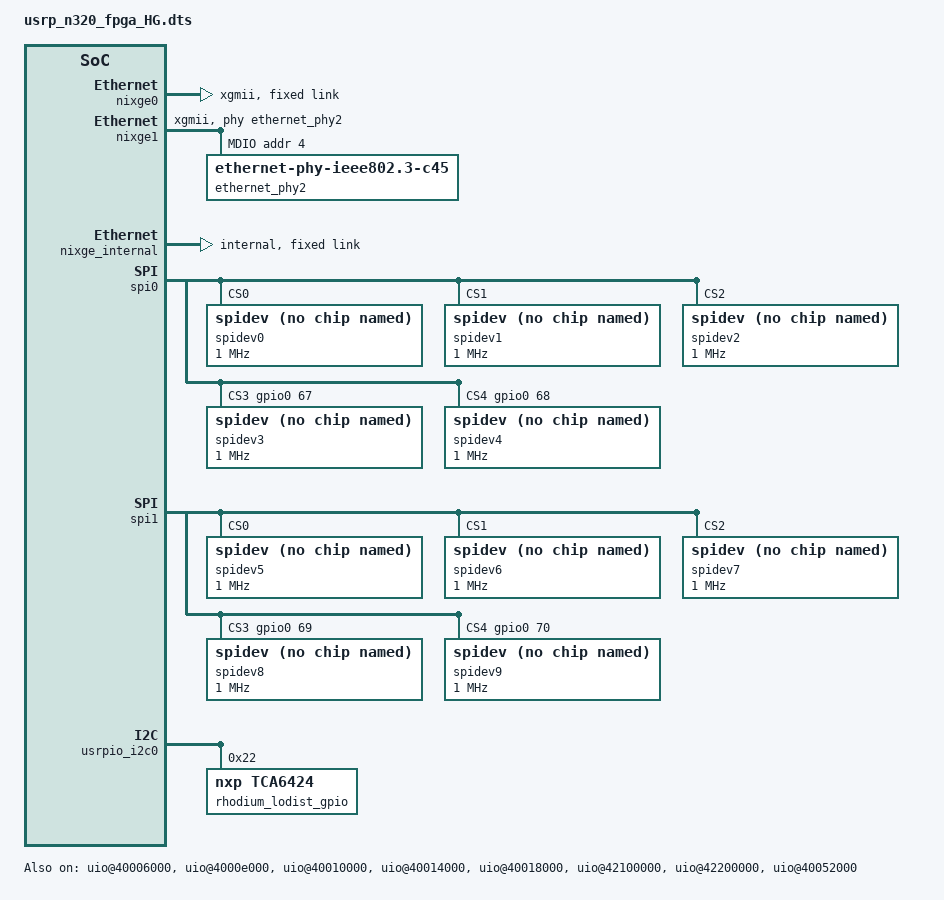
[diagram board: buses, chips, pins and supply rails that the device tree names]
# 1 "dts/usrp_n320_fpga_HG.dts"
# 1 "<built-in>"
# 1 "<command-line>"
# 1 "dts/usrp_n320_fpga_HG.dts"





/dts-v1/;
/plugin/;

# 1 "dts/n320-fpga.dtsi" 1





&fpga_full {
 firmware-name = "n320.bin";
};
# 10 "dts/usrp_n320_fpga_HG.dts" 2

&fpga_full {
 nixge0: ethernet@40000000 {
  compatible = "ni,xge-enet-2.00";
  reg = <0x40000000 0x6000>;

  clocks = <&clkc 15>;
  clock-names = "bus_clk";

  nvmem-cells = <&eth1_addr>;
  nvmem-cell-names = "address";

  interrupts = <0 29 4>, <0 30 4>;
  interrupt-names = "rx", "tx";
  interrupt-parent = <&intc>;
  status = "okay";

  phy-mode = "xgmii";

  fixed-link {
   speed = <1000>;
   full-duplex;

   link-gpios = <&gpio0 114 0>;
  };
 };

 uio@40006000 {
  compatible = "usrp-uio";
  reg = <0x40006000 0x2000>;
  reg-names = "misc-enet-regs0";
  status = "okay";
 };

 nixge1: ethernet@40008000 {
  compatible = "ni,xge-enet-2.00";
  reg = <0x40008000 0x6000>;

  clocks = <&clkc 15>;
  clock-names = "bus_clk";

  nvmem-cells = <&eth2_addr>;
  nvmem-cell-names = "address";

  interrupts = <0 31 4>, <0 32 4>;
  interrupt-names = "rx", "tx";
  interrupt-parent = <&intc>;
  status = "okay";

  phy-mode = "xgmii";
  phy-handle = <&ethernet_phy2>;

  mdio {
   ethernet_phy2: ethernet-phy@4 {
    compatible = "ethernet-phy-ieee802.3-c45";
    reg = <4>;
   };
  };
 };

 uio@4000e000 {
  compatible = "usrp-uio";
  reg = <0x4000e000 0x2000>;
  reg-names = "misc-enet-regs1";
  status = "okay";
 };
};

# 1 "dts/n320-common.dtsi" 1





&fpga_full {
 uio@40010000 {
  compatible = "usrp-uio";
  reg = <0x40010000 0x2000>;
  reg-names = "mboard-regs";
  status = "okay";
 };

 uio@40014000 {
  compatible = "usrp-uio";
  reg = <0x40014000 0x4000>;
  reg-names = "dboard-regs-0";
  status = "okay";
 };

 uio@40018000 {
  compatible = "usrp-uio";
  reg = <0x40018000 0x4000>;
  reg-names = "dboard-regs-1";
  status = "okay";
 };

 uio@42100000 {
  compatible = "usrp-uio";
  reg = <0x42100000 0x1000>;
  reg-names = "dboard-jtag-0";
  status = "okay";
 };

 uio@42200000 {
  compatible = "usrp-uio";
  reg = <0x42200000 0x1000>;
  reg-names = "dboard-jtag-1";
  status = "okay";
 };
};

&spi0 {
 status = "okay";

 cs-gpios = <0>, <0>, <0>, <&gpio0 67 0>, <&gpio0 68 0>;

 spidev0: spidev@0 {
  compatible = "rohm,dh2228fv";
  reg = <0>;
  status = "okay";
  spi-max-frequency = <1000000>;
 };

 spidev1: spidev@1 {
  compatible = "rohm,dh2228fv";
  reg = <1>;
  status = "okay";
  spi-max-frequency = <1000000>;
 };

 spidev2: spidev@2 {
  compatible = "rohm,dh2228fv";
  reg = <2>;
  status = "okay";
  spi-max-frequency = <1000000>;
 };

 spidev3: spidev@3 {
  compatible = "rohm,dh2228fv";
  reg = <3>;
  status = "okay";
  spi-max-frequency = <1000000>;
 };

 spidev4: spidev@4 {
  compatible = "rohm,dh2228fv";
  reg = <4>;
  status = "okay";
  spi-max-frequency = <1000000>;
 };
};

&spi1 {
 status = "okay";

 cs-gpios = <0>, <0>, <0>, <&gpio0 69 0>, <&gpio0 70 0>;

 spidev5: spidev@0 {
  compatible = "rohm,dh2228fv";
  reg = <0>;
  status = "okay";
  spi-max-frequency = <1000000>;
 };

 spidev6: spidev@1 {
  compatible = "rohm,dh2228fv";
  reg = <1>;
  status = "okay";
  spi-max-frequency = <1000000>;
 };

 spidev7: spidev@2 {
  compatible = "rohm,dh2228fv";
  reg = <2>;
  status = "okay";
  spi-max-frequency = <1000000>;
 };

 spidev8: spidev@3 {
  compatible = "rohm,dh2228fv";
  reg = <3>;
  status = "okay";
  spi-max-frequency = <1000000>;
 };

 spidev9: spidev@4 {
  compatible = "rohm,dh2228fv";
  reg = <4>;
  status = "okay";
  spi-max-frequency = <1000000>;
 };
};

&usrpio_i2c0 {
 rhodium_lodist_gpio: rhodium-lodist-gpio@22 {
  compatible = "nxp,tca6424";
  reg = <0x22>;
  gpio-controller;
  #gpio-cells = <2>;
 };
};
# 79 "dts/usrp_n320_fpga_HG.dts" 2
# 1 "dts/dma-common.dtsi" 1





&fpga_full {
 nixge_internal: ethernet@40040000 {
  #address-cells = <1>;
  #size-cells = <1>;
  compatible = "ni,xge-enet-3.00";
  reg = <0x40040000 0x4000
         0x40050000 0x2000>;
  reg-names = "dma", "ctrl";
   clocks = <&clkc 15>;
   clock-names = "bus_clk";

  interrupts = <0 52 4>, <0 53 4>;
  interrupt-names = "rx", "tx";
  interrupt-parent = <&intc>;
  status = "okay";

  phy-mode = "internal";
  local-mac-address = <0x00 0x01 0x02 0x03 0x04 0x05>;

  fixed-link {
   speed = <1000>;
   full-duplex;
  };
 };

 uio@40052000 {
  compatible = "usrp-uio";
  reg = <0x40052000 0x2000>;
  reg-names = "misc-enet-int-regs";
  status = "okay";
 };
};
# 79 "dts/usrp_n320_fpga_HG.dts" 2
